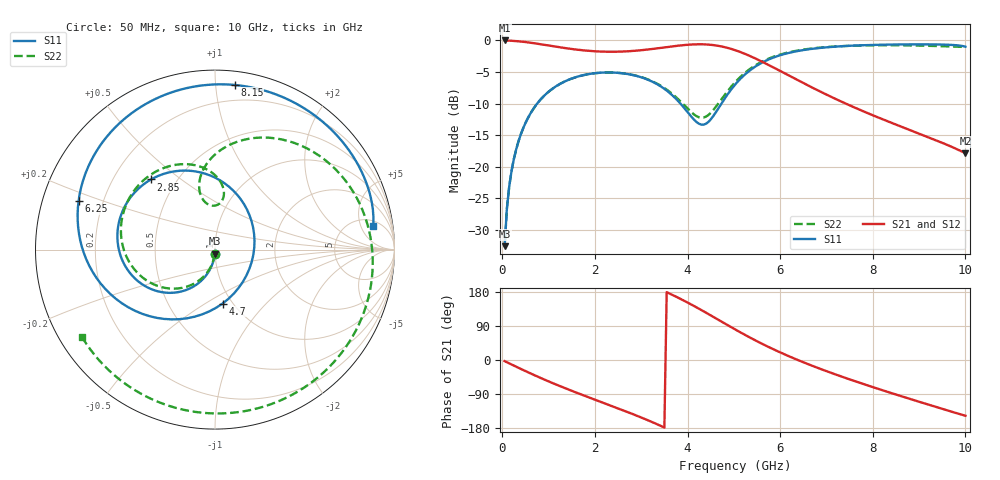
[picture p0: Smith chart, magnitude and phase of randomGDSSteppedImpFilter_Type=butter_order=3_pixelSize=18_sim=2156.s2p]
! freq	dB(S11)	phase(S11)	dB(S12)	phase(S12)
!  dB(S21)	phase(S21)	dB(S22)	phase(S22)
!S-par simulation data
#  GHz  S  DB  R 50
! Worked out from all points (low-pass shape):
!   200 points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, 50 MHz to 10 GHz, reference 50 ohm
!   highest |S21| = -0.01 dB at 50 MHz (marker M1); lowest = -17.8 dB at 10 GHz (marker M2)
!   |S21| within 3 dB of the highest: start of sweep to 5.508 GHz
!   lowest |S11| = -32.6 dB at 50 MHz (marker M3), VSWR 1.05, Z = 49.8 - j2.35 ohm
!   |S11| at or under -10 dB: start of sweep to 752.9 MHz; 3.847 GHz to 4.731 GHz (884 MHz wide, 20.6 % of centre)
!   |S22| runs from -32.6 to -0.8 dB; largest |S21 - S12| = 0
!   S11 on the Smith chart (normalised r, x): 50 MHz: 1.00, -0.05; 2.85 GHz: 0.36, +0.39; 4.7 GHz: 0.90, -0.60; 6.25 GHz: 0.11, +0.17; 8.15 GHz: 0.09, +1.12; 10 GHz: 6, +8
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0.05  -32.56 -92.9  -0.01 -3.0  -0.01 -3.0  -32.56 -93.3
0.1  -26.57 -95.9  -0.02 -6.0  -0.02 -6.0  -26.58 -96.6
0.2  -20.65 -101.6  -0.06 -11.9  -0.06 -11.9  -20.65 -103.0
0.5  -13.08 -118.0  -0.26 -29.3  -0.26 -29.3  -13.08 -121.5
1.1  -7.55 -148.4  -0.92 -61.6  -0.92 -61.6  -7.56 -155.9
1.75  -5.49 -178.0  -1.57 -93.1  -1.57 -93.1  -5.50 170.7
2.3  -5.07 158.0  -1.79 -118.4  -1.79 -118.4  -5.07 144.3
2.85  -5.53 132.3  -1.65 -144.3  -1.65 -144.3  -5.51 118.7
3.4  -7.17 100.8  -1.21 -172.6  -1.21 -172.6  -7.07 94.7
3.75  -9.23 73.1  -0.88 167.3  -0.88 167.3  -8.97 83.1
4.05  -11.78 37.6  -0.66 148.5  -0.66 148.5  -11.14 81.7
4.35  -13.33 -18.2  -0.62 128.3  -0.62 128.3  -12.20 94.1
4.7  -10.36 -82.1  -0.90 103.7  -0.90 103.7  -9.64 104.9
5.05  -6.79 -121.8  -1.60 79.2  -1.60 79.2  -6.44 95.9
5.65  -3.36 -166.7  -3.51 40.3  -3.51 40.3  -3.21 64.4
6.25  -1.87 160.5  -5.79 6.7  -5.79 6.7  -1.78 30.9
6.7  -1.32 140.0  -7.49 -15.6  -7.49 -15.6  -1.26 7.1
7.35  -0.91 113.5  -9.78 -44.8  -9.78 -44.8  -0.90 -24.9
8.15  -0.69 83.2  -12.29 -77.5  -12.29 -77.5  -0.76 -61.6
8.35  -0.66 75.8  -12.88 -85.3  -12.88 -85.3  -0.76 -70.4
9.15  -0.62 46.0  -15.17 -115.8  -15.17 -115.8  -0.84 -105.9
10  -0.99 8.5  -17.84 -147.1  -17.84 -147.1  -1.04 -146.6
